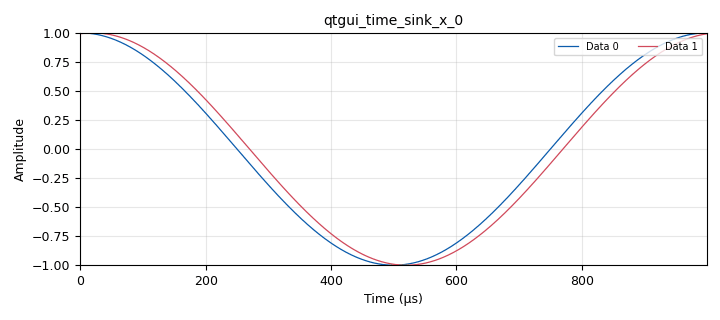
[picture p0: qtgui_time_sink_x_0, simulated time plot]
<?xml version='1.0' encoding='utf-8'?>
<?grc format='1' created='3.7.8'?>
<flow_graph>
<block>
<key>options</key>
<param><key>id</key><value>top_block</value></param>
<param><key>category</key><value>Custom</value></param>
<param><key>generate_options</key><value>qt_gui</value></param>
</block>
<block>
<key>variable</key>
<param><key>id</key><value>cal_freq</value></param>
<param><key>value</key><value>1000</value></param>
</block>
<block>
<key>variable_qtgui_range</key>
<param><key>id</key><value>off1</value></param>
<param><key>value</key><value>20</value></param>
<param><key>orient</key><value>Qt.Horizontal</value></param>
<param><key>start</key><value>0</value></param>
<param><key>step</key><value>2</value></param>
<param><key>stop</key><value>180</value></param>
<param><key>rangeType</key><value>int</value></param>
</block>
<block>
<key>variable_qtgui_range</key>
<param><key>id</key><value>off2</value></param>
<param><key>value</key><value>0</value></param>
<param><key>orient</key><value>Qt.Horizontal</value></param>
<param><key>start</key><value>0</value></param>
<param><key>step</key><value>2</value></param>
<param><key>stop</key><value>180</value></param>
<param><key>rangeType</key><value>int</value></param>
</block>
<block>
<key>variable</key>
<param><key>id</key><value>samp_rate</value></param>
<param><key>value</key><value>1000000</value></param>
</block>
<block>
<key>variable_qtgui_range</key>
<param><key>id</key><value>shifter</value></param>
<param><key>value</key><value>10</value></param>
<param><key>orient</key><value>Qt.Horizontal</value></param>
<param><key>start</key><value>0</value></param>
<param><key>step</key><value>2</value></param>
<param><key>stop</key><value>180</value></param>
<param><key>rangeType</key><value>int</value></param>
</block>
<block>
<key>variable</key>
<param><key>id</key><value>vec_size</value></param>
<param><key>_enabled</key><value>0</value></param>
<param><key>value</key><value>samp_rate/cal_freq</value></param>
</block>
<block>
<key>variable</key>
<param><key>id</key><value>vec_size</value></param>
<param><key>value</key><value>10</value></param>
</block>
<block>
<key>analog_const_source_x</key>
<param><key>id</key><value>analog_const_source_x_0</value></param>
<param><key>const</key><value>off2</value></param>
<param><key>type</key><value>int</value></param>
</block>
<block>
<key>analog_sig_source_x</key>
<param><key>id</key><value>analog_sig_source_x_0</value></param>
<param><key>amp</key><value>1</value></param>
<param><key>freq</key><value>cal_freq</value></param>
<param><key>offset</key><value>0</value></param>
<param><key>type</key><value>complex</value></param>
<param><key>samp_rate</key><value>samp_rate</value></param>
<param><key>waveform</key><value>analog.GR_COS_WAVE</value></param>
</block>
<block>
<key>blocks_add_xx</key>
<param><key>id</key><value>blocks_add_xx_0</value></param>
<param><key>type</key><value>int</value></param>
</block>
<block>
<key>blocks_complex_to_real</key>
<param><key>id</key><value>blocks_complex_to_real_0</value></param>
</block>
<block>
<key>blocks_complex_to_real</key>
<param><key>id</key><value>blocks_complex_to_real_0_0</value></param>
</block>
<block>
<key>blocks_complex_to_real</key>
<param><key>id</key><value>blocks_complex_to_real_0_0_0</value></param>
</block>
<block>
<key>blocks_complex_to_real</key>
<param><key>id</key><value>blocks_complex_to_real_0_1</value></param>
</block>
<block>
<key>blocks_complex_to_real</key>
<param><key>id</key><value>blocks_complex_to_real_0_1_0</value></param>
<param><key>vlen</key><value>vec_size</value></param>
</block>
<block>
<key>blocks_complex_to_real</key>
<param><key>id</key><value>blocks_complex_to_real_0_2</value></param>
<param><key>vlen</key><value>vec_size</value></param>
</block>
<block>
<key>blocks_delay</key>
<param><key>id</key><value>blocks_delay_0</value></param>
<param><key>delay</key><value>off1</value></param>
<param><key>type</key><value>complex</value></param>
</block>
<block>
<key>blocks_float_to_int</key>
<param><key>id</key><value>blocks_float_to_int_0</value></param>
<param><key>scale</key><value>1</value></param>
</block>
<block>
<key>blocks_float_to_int</key>
<param><key>id</key><value>blocks_float_to_int_0_0</value></param>
<param><key>scale</key><value>1</value></param>
</block>
<block>
<key>blocks_stream_to_vector</key>
<param><key>id</key><value>blocks_stream_to_vector_0_1</value></param>
<param><key>type</key><value>complex</value></param>
<param><key>num_items</key><value>vec_size</value></param>
</block>
<block>
<key>blocks_stream_to_vector</key>
<param><key>id</key><value>blocks_stream_to_vector_0_1_0</value></param>
<param><key>type</key><value>complex</value></param>
<param><key>num_items</key><value>vec_size</value></param>
</block>
<block>
<key>blocks_throttle</key>
<param><key>id</key><value>blocks_throttle_0</value></param>
<param><key>samples_per_second</key><value>samp_rate</value></param>
<param><key>type</key><value>complex</value></param>
</block>
<block>
<key>blocks_vector_to_stream</key>
<param><key>id</key><value>blocks_vector_to_stream_0</value></param>
<param><key>type</key><value>complex</value></param>
<param><key>num_items</key><value>vec_size</value></param>
</block>
<block>
<key>blocks_vector_to_stream</key>
<param><key>id</key><value>blocks_vector_to_stream_0_0</value></param>
<param><key>type</key><value>complex</value></param>
<param><key>num_items</key><value>vec_size</value></param>
</block>
<block>
<key>qtgui_time_sink_x</key>
<param><key>id</key><value>qtgui_time_sink_x_0</value></param>
<param><key>color1</key><value>"blue"</value></param>
<param><key>label1</key><value></value></param>
<param><key>color2</key><value>"red"</value></param>
<param><key>label2</key><value></value></param>
<param><key>nconnections</key><value>2</value></param>
<param><key>size</key><value>1000</value></param>
<param><key>srate</key><value>samp_rate</value></param>
<param><key>type</key><value>float</value></param>
</block>
<block>
<key>qtgui_time_sink_x</key>
<param><key>id</key><value>qtgui_time_sink_x_0_0</value></param>
<param><key>color1</key><value>"blue"</value></param>
<param><key>label1</key><value></value></param>
<param><key>color2</key><value>"red"</value></param>
<param><key>label2</key><value></value></param>
<param><key>nconnections</key><value>2</value></param>
<param><key>size</key><value>1000</value></param>
<param><key>srate</key><value>1000</value></param>
<param><key>type</key><value>float</value></param>
</block>
<block>
<key>qtgui_time_sink_x</key>
<param><key>id</key><value>qtgui_time_sink_x_0_0_0</value></param>
<param><key>autoscale</key><value>True</value></param>
<param><key>color1</key><value>"blue"</value></param>
<param><key>label1</key><value></value></param>
<param><key>color2</key><value>"red"</value></param>
<param><key>label2</key><value></value></param>
<param><key>nconnections</key><value>2</value></param>
<param><key>size</key><value>10</value></param>
<param><key>srate</key><value>1000</value></param>
<param><key>type</key><value>float</value></param>
</block>
<block>
<key>wifius_delay_sig</key>
<param><key>id</key><value>wifius_delay_sig_0</value></param>
<param><key>vlen</key><value>vec_size</value></param>
</block>
<block>
<key>wifius_delay_sig</key>
<param><key>id</key><value>wifius_delay_sig_0_0</value></param>
<param><key>vlen</key><value>vec_size</value></param>
</block>
<block>
<key>wifius_measure_phases</key>
<param><key>id</key><value>wifius_measure_phases_0</value></param>
<param><key>CalibrationToneFrequency</key><value>cal_freq</value></param>
<param><key>SampleRate</key><value>samp_rate</value></param>
<param><key>vlen</key><value>vec_size</value></param>
</block>
<connection><source_block_id>analog_const_source_x_0</source_block_id><sink_block_id>blocks_add_xx_0</sink_block_id><source_key>0</source_key><sink_key>0</sink_key></connection>
<connection><source_block_id>analog_sig_source_x_0</source_block_id><sink_block_id>blocks_throttle_0</sink_block_id><source_key>0</source_key><sink_key>0</sink_key></connection>
<connection><source_block_id>blocks_add_xx_0</source_block_id><sink_block_id>wifius_delay_sig_0_0</sink_block_id><source_key>0</source_key><sink_key>0</sink_key></connection>
<connection><source_block_id>blocks_complex_to_real_0</source_block_id><sink_block_id>qtgui_time_sink_x_0</sink_block_id><source_key>0</source_key><sink_key>0</sink_key></connection>
<connection><source_block_id>blocks_complex_to_real_0_0</source_block_id><sink_block_id>qtgui_time_sink_x_0</sink_block_id><source_key>0</source_key><sink_key>1</sink_key></connection>
<connection><source_block_id>blocks_complex_to_real_0_0_0</source_block_id><sink_block_id>qtgui_time_sink_x_0_0</sink_block_id><source_key>0</source_key><sink_key>1</sink_key></connection>
<connection><source_block_id>blocks_complex_to_real_0_1</source_block_id><sink_block_id>qtgui_time_sink_x_0_0</sink_block_id><source_key>0</source_key><sink_key>0</sink_key></connection>
<connection><source_block_id>blocks_complex_to_real_0_1_0</source_block_id><sink_block_id>wifius_measure_phases_0</sink_block_id><source_key>0</source_key><sink_key>0</sink_key></connection>
<connection><source_block_id>blocks_complex_to_real_0_2</source_block_id><sink_block_id>wifius_measure_phases_0</sink_block_id><source_key>0</source_key><sink_key>1</sink_key></connection>
<connection><source_block_id>blocks_delay_0</source_block_id><sink_block_id>blocks_complex_to_real_0_0</sink_block_id><source_key>0</source_key><sink_key>0</sink_key></connection>
<connection><source_block_id>blocks_delay_0</source_block_id><sink_block_id>blocks_stream_to_vector_0_1</sink_block_id><source_key>0</source_key><sink_key>0</sink_key></connection>
<connection><source_block_id>blocks_float_to_int_0</source_block_id><sink_block_id>blocks_add_xx_0</sink_block_id><source_key>0</source_key><sink_key>1</sink_key></connection>
<connection><source_block_id>blocks_float_to_int_0_0</source_block_id><sink_block_id>wifius_delay_sig_0</sink_block_id><source_key>0</source_key><sink_key>0</sink_key></connection>
<connection><source_block_id>blocks_stream_to_vector_0_1</source_block_id><sink_block_id>blocks_complex_to_real_0_2</sink_block_id><source_key>0</source_key><sink_key>0</sink_key></connection>
<connection><source_block_id>blocks_stream_to_vector_0_1</source_block_id><sink_block_id>wifius_delay_sig_0_0</sink_block_id><source_key>0</source_key><sink_key>1</sink_key></connection>
<connection><source_block_id>blocks_stream_to_vector_0_1_0</source_block_id><sink_block_id>blocks_complex_to_real_0_1_0</sink_block_id><source_key>0</source_key><sink_key>0</sink_key></connection>
<connection><source_block_id>blocks_stream_to_vector_0_1_0</source_block_id><sink_block_id>wifius_delay_sig_0</sink_block_id><source_key>0</source_key><sink_key>1</sink_key></connection>
<connection><source_block_id>blocks_throttle_0</source_block_id><sink_block_id>blocks_complex_to_real_0</sink_block_id><source_key>0</source_key><sink_key>0</sink_key></connection>
<connection><source_block_id>blocks_throttle_0</source_block_id><sink_block_id>blocks_delay_0</sink_block_id><source_key>0</source_key><sink_key>0</sink_key></connection>
<connection><source_block_id>blocks_throttle_0</source_block_id><sink_block_id>blocks_stream_to_vector_0_1_0</sink_block_id><source_key>0</source_key><sink_key>0</sink_key></connection>
<connection><source_block_id>blocks_vector_to_stream_0</source_block_id><sink_block_id>blocks_complex_to_real_0_1</sink_block_id><source_key>0</source_key><sink_key>0</sink_key></connection>
<connection><source_block_id>blocks_vector_to_stream_0_0</source_block_id><sink_block_id>blocks_complex_to_real_0_0_0</sink_block_id><source_key>0</source_key><sink_key>0</sink_key></connection>
<connection><source_block_id>wifius_delay_sig_0</source_block_id><sink_block_id>blocks_vector_to_stream_0</sink_block_id><source_key>0</source_key><sink_key>0</sink_key></connection>
<connection><source_block_id>wifius_delay_sig_0_0</source_block_id><sink_block_id>blocks_vector_to_stream_0_0</sink_block_id><source_key>0</source_key><sink_key>0</sink_key></connection>
<connection><source_block_id>wifius_measure_phases_0</source_block_id><sink_block_id>blocks_float_to_int_0</sink_block_id><source_key>0</source_key><sink_key>0</sink_key></connection>
<connection><source_block_id>wifius_measure_phases_0</source_block_id><sink_block_id>qtgui_time_sink_x_0_0_0</sink_block_id><source_key>0</source_key><sink_key>0</sink_key></connection>
<connection><source_block_id>wifius_measure_phases_0</source_block_id><sink_block_id>blocks_float_to_int_0_0</sink_block_id><source_key>1</source_key><sink_key>0</sink_key></connection>
<connection><source_block_id>wifius_measure_phases_0</source_block_id><sink_block_id>qtgui_time_sink_x_0_0_0</sink_block_id><source_key>1</source_key><sink_key>1</sink_key></connection>
</flow_graph>
